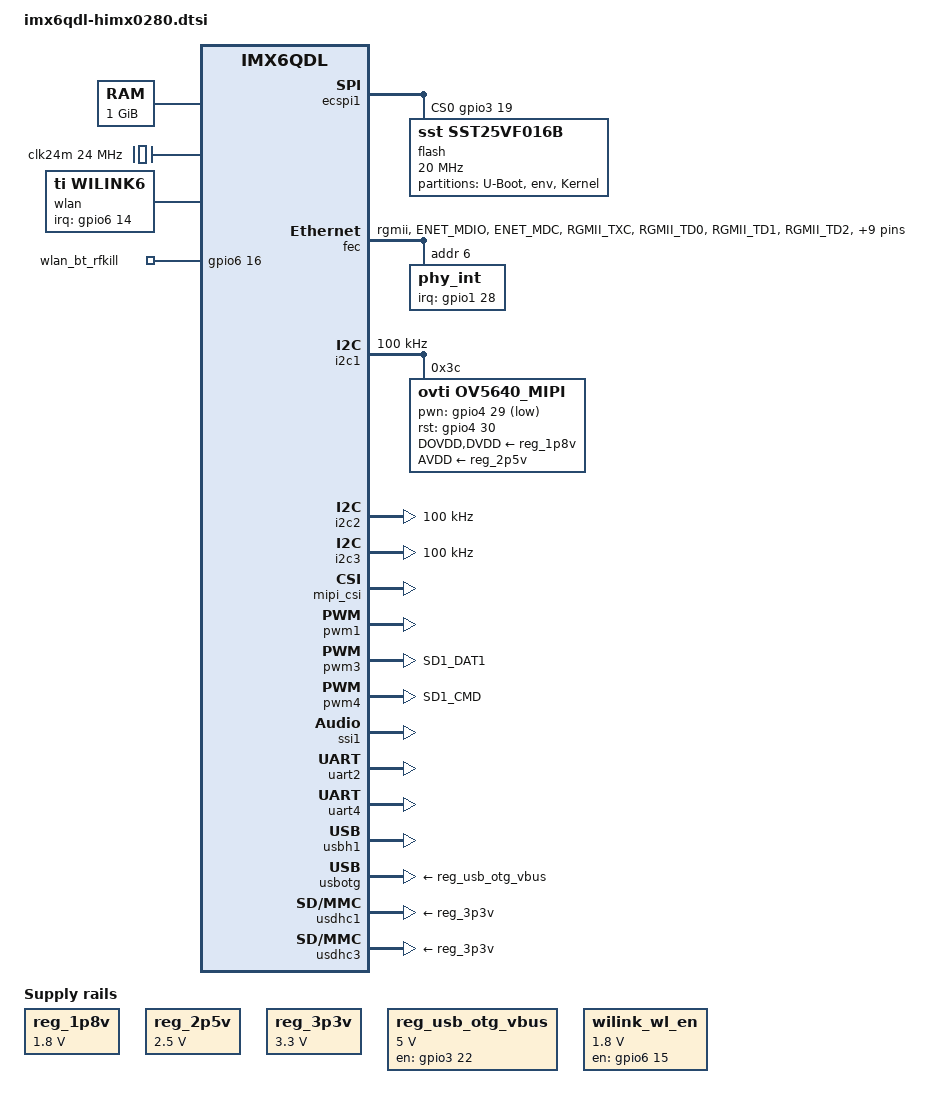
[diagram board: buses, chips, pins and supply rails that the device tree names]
/*
 * Copyright 2014 DResearch GmbH
 * Copyright 2013 Boundary Devices
 * Copyright 2012 Freescale Semiconductor, Inc.
 * Copyright 2011 Linaro Ltd.
 *
 * The code contained herein is licensed under the GNU General Public
 * License. You may obtain a copy of the GNU General Public License
 * Version 2 or later at the following locations:
 *
 * http://www.opensource.org/licenses/gpl-license.html
 * http://www.gnu.org/copyleft/gpl.html
 */
#include <dt-bindings/input/input.h>

/ {
	memory {
		reg = <0x10000000 0x40000000>;
	};

	clocks {
		clk24m: clk24m {
			compatible = "fixed-clock";
			#clock-cells = <0>;
			clock-frequency = <24000000>;
		};
	};

	regulators {
		compatible = "simple-bus";

		reg_1p8v: 1p8v {
			compatible = "regulator-fixed";
			regulator-name = "1P8V";
			regulator-min-microvolt = <1800000>;
			regulator-max-microvolt = <1800000>;
			regulator-always-on;
		};

		reg_2p5v: 2p5v {
			compatible = "regulator-fixed";
			regulator-name = "2P5V";
			regulator-min-microvolt = <2500000>;
			regulator-max-microvolt = <2500000>;
			regulator-always-on;
		};

		reg_3p3v: 3p3v {
			compatible = "regulator-fixed";
			regulator-name = "3P3V";
			regulator-min-microvolt = <3300000>;
			regulator-max-microvolt = <3300000>;
			regulator-always-on;
		};

		reg_usb_otg_vbus: usb_otg_vbus {
			compatible = "regulator-fixed";
			regulator-name = "usb_otg_vbus";
			regulator-min-microvolt = <5000000>;
			regulator-max-microvolt = <5000000>;
			gpio = <&gpio3 22 0>;
			enable-active-high;
		};

		wilink_wl_en: tiwi_wlan {
			compatible = "regulator-fixed";
			regulator-name = "wilink_wl_en";
			regulator-min-microvolt = <1800000>;
			regulator-max-microvolt = <1800000>;
			gpio = <&gpio6 15 0>;
			startup-delay-us = <70000>;
			enable-active-high;
		};
	};

	v4l2_cap_0 {
		compatible = "fsl,imx6q-v4l2-capture";
		ipu_id = <0>;
		csi_id = <1>;
		mclk_source = <0>;
		status = "okay";
	};

	wlan {
		compatible = "ti,wilink6";
		interrupt-parent = <&gpio6>;
		interrupts = <14 IRQ_TYPE_LEVEL_HIGH>;
		clocks = <&refclock>;
		clock-names = "refclock";

		refclock: refclock {
			compatible = "ti,wilink-clock";
			#clock-cells = <0>;
			clock-frequency = <38400000>;
		};
	};

	wlan_bt_rfkill {
		compatible = "net,rfkill-gpio";
		name = "wlan_bt_rfkill";
		type = <2>;     /* bluetooth */
		gpios = <&gpio6 16 0>;
	};

#if 0
	mipi_dsi_reset: mipi-dsi-reset {
		compatible = "gpio-reset";
		reset-gpios = <&gpio2 5 GPIO_ACTIVE_LOW>;
		reset-delay-us = <50>;
		#reset-cells = <0>;
	};
#endif
};

&ecspi1 {
	fsl,spi-num-chipselects = <1>;
	cs-gpios = <&gpio3 19 0>;
	pinctrl-names = "default";
	pinctrl-0 = <&pinctrl_ecspi1_1>;
	status = "okay";

	flash: m25p80@0 {
		compatible = "sst,sst25vf016b";
		spi-max-frequency = <20000000>;
		reg = <0>;
		#address-cells = <1>;
		#size-cells = <1>;
		partition@0 {
			label = "U-Boot";
			reg = <0x0 0x50000>;
		};
		partition@50000 {
			label = "env";
			reg = <0x50000 0x10000>;
		};
		partition@60000 {
			label = "Kernel";
			reg = <0x60000 0x3a0000>;
		};
	};
};

&fec {
	pinctrl-names = "default";
	pinctrl-0 = <&pinctrl_enet_4>;
	phy-mode = "rgmii";
#if 0
	phy-reset-gpios = <&gpio1 27 0>;
#endif
	status = "okay";

	#address-cells = <0>;
	#size-cells = <1>;
	phy_int {
		reg = <0x6>;
		interrupt-parent = <&gpio1>;
		interrupts = <28 IRQ_TYPE_LEVEL_LOW>;
	};
};

&i2c1 {
	clock-frequency = <100000>;
	pinctrl-names = "default";
	pinctrl-0 = <&pinctrl_i2c1_2>;
	status = "okay";

	ov5640_mipi: ov5640_mipi@3c {
		compatible = "ovti,ov5640_mipi";
		reg = <0x3c>;
		clocks = <&clks 147>;
		clock-names = "csi_mclk";
		DOVDD-supply = <&reg_1p8v>;
		AVDD-supply = <&reg_2p5v>;
		DVDD-supply = <&reg_1p8v>;

		/* Power down ist nicht zur Prozessorplatine verdrahtet,
		 * könnte an CSI0_DAT11 / GPIO5_IO29 (ALT5) ausgegeben werden (ist nicht benutzt).
		 */
		pwn-gpios = <&gpio4 29 1>; 

		/* GPIO 158 = 4 * 32 + 30 aka CSI0_DAT12 / GPIO5_IO30 (ALT5) */
		rst-gpios = <&gpio4 30 0>; 
		
		/* 
		 * Außerdem gibt es noch einen Trigger Input,
		 * der an CSI0_DAT13 GPIO5_IO31 (ALT5) liegt.
		*/
		
		ipu_id = <0>;
		csi_id = <1>;
		mclk = <24000000>;
		mclk_source = <0>;
		/* himx0280 needs no pwm because mipi clock is fed from outside 24 Mhz XTAL */
		/* pwms = <&pwm3 0 45>; */
	};
};

&i2c2 {
	clock-frequency = <100000>;
	pinctrl-names = "default";
	pinctrl-0 = <&pinctrl_i2c2_2>;
	status = "okay";

	/* device addr 08 to PMIC PF0100 */
};

&i2c3 {
        clock-frequency = <100000>;
        pinctrl-names = "default";
        pinctrl-0 = <&pinctrl_i2c3_2>;
        status = "okay";
	
	/* device addr 68 to base board / MPU9150 */

};

&iomuxc {
	pinctrl-names = "default";
	pinctrl-0 = <&pinctrl_hog_1>;

	imx6q-nitrogen6x {
		pinctrl_hog_1: hoggrp-1 {
			fsl,pins = <
				MX6QDL_PAD_EIM_D22__GPIO3_IO22		0x80000000	/* otg power en */
				MX6QDL_PAD_ENET_TX_EN__GPIO1_IO28	0x1b0b0		/* ethernet phy interrupt */
				MX6QDL_PAD_EIM_D30__USB_H1_OC		0x1b0b0
			>;
		};
	};

	pwm3 {
		pinctrl_pwm3_2: pwm3grp-2 {
			fsl,pins = <
				MX6QDL_PAD_SD1_DAT1__PWM3_OUT 0x1b0b1
			>;
		};
	};

	pwm4 {
		pinctrl_pwm4_2: pwm4grp-2 {
			fsl,pins = <
				MX6QDL_PAD_SD1_CMD__PWM4_OUT 0x1b0b1
			>;
		};
	};

	enet {
		pinctrl_enet_4: enetgrp-4 {
			fsl,pins = <
				MX6QDL_PAD_ENET_MDIO__ENET_MDIO       0x1b0b0
				MX6QDL_PAD_ENET_MDC__ENET_MDC         0x1b0b0
				MX6QDL_PAD_RGMII_TXC__RGMII_TXC       0x1b0b0
				MX6QDL_PAD_RGMII_TD0__RGMII_TD0       0x1b0b0
				MX6QDL_PAD_RGMII_TD1__RGMII_TD1       0x1b0b0
				MX6QDL_PAD_RGMII_TD2__RGMII_TD2       0x1b0b0
				MX6QDL_PAD_RGMII_TD3__RGMII_TD3       0x1b0b0
				MX6QDL_PAD_RGMII_TX_CTL__RGMII_TX_CTL 0x1b0b0
				MX6QDL_PAD_ENET_REF_CLK__ENET_TX_CLK  0x1b0b0
				MX6QDL_PAD_RGMII_RXC__RGMII_RXC       0x1b0b0
				MX6QDL_PAD_RGMII_RD0__RGMII_RD0       0x1b0b0
				MX6QDL_PAD_RGMII_RD1__RGMII_RD1       0x1b0b0
				MX6QDL_PAD_RGMII_RD2__RGMII_RD2       0x1b0b0
				MX6QDL_PAD_RGMII_RD3__RGMII_RD3       0x1b0b0
				MX6QDL_PAD_RGMII_RX_CTL__RGMII_RX_CTL 0x1b0b0
			>;
		};

	};
};

&mipi_csi {
	ipu_id = <0>;
	csi_id = <1>;
	v_channel = <0>;
	lanes = <2>;
	status = "okay";
};

&pwm1 {
	pinctrl-names = "default";
	pinctrl-0 = <&pinctrl_pwm1_1>;
	status = "okay";
};

&pwm3 {
	pinctrl-names = "default";
	pinctrl-0 = <&pinctrl_pwm3_2>;
	status = "okay";
};

&pwm4 {
	pinctrl-names = "default";
	pinctrl-0 = <&pinctrl_pwm4_2>;
	status = "okay";
};

&ssi1 {
	fsl,mode = "i2s-slave";
	status = "okay";
};


&uart2 {
	pinctrl-names = "default";
	pinctrl-0 = <&pinctrl_uart2_1>;
	status = "okay";
};

&uart4 {
	pinctrl-names = "default";
	pinctrl-0 = <&pinctrl_uart4_1>;
	status = "okay";
};

&usbh1 {
	status = "okay";
};

&usbotg {
	vbus-supply = <&reg_usb_otg_vbus>;
	pinctrl-names = "default";
	pinctrl-0 = <&pinctrl_usbotg_1>;
	disable-over-current;
	status = "okay";
};

&usdhc1 {
	pinctrl-names = "default";
	pinctrl-0 = <&pinctrl_usdhc1_1>;
	vmmc-supply = <&reg_3p3v>;
	status = "okay";
};

&usdhc3 {
	pinctrl-names = "default";
	pinctrl-0 = <&pinctrl_usdhc3_1_200mhz>;
	vmmc-supply = <&reg_3p3v>;
	status = "okay";
};

